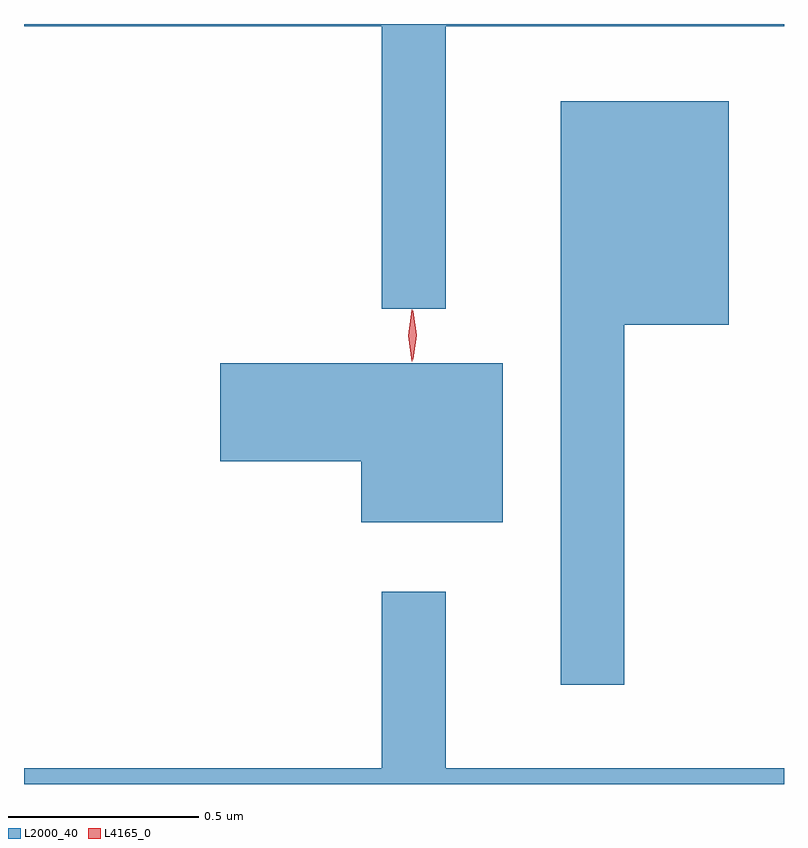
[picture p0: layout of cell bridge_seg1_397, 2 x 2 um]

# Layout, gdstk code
import gdstk
lib = gdstk.Library(unit=1e-6, precision=1e-09)
def P(c, l, *ps):  # polygons
    for p in ps: c.add(gdstk.Polygon(p, *l))
L2000_40 = (2000, 40)
L4165_0 = (4165, 0)

bridge_seg1_397 = lib.new_cell('bridge_seg1_397')
P(bridge_seg1_397, L2000_40, [(552.589,937.316),(553.479,937.316),(553.479,937.322),(551.479,937.322),(551.479,937.316),(552.421,937.316),(552.421,936.573),(552.589,936.573)],
  [(553.059,936.531),(553.334,936.531),(553.334,937.119),(552.891,937.119),(552.891,935.583),(553.059,935.583)],
  [(552.739,936.429),(551.996,936.429),(551.996,936.171),(552.366,936.171),(552.366,936.011),(552.739,936.011)],
  [(553.479,935.364),(552.589,935.364),(552.589,935.828),(552.421,935.828),(552.421,935.364),(551.479,935.364),(551.479,935.322),(553.479,935.322)])
P(bridge_seg1_397, L4165_0, [(552.5,936.434),(552.5,936.434),(552.49,936.502),(552.5,936.57),(552.5,936.57),(552.501,936.57),(552.51,936.502),(552.501,936.434)],
  [(552.502,936.44),(552.493,936.503),(552.502,936.566),(552.503,936.567),(552.503,936.566),(552.513,936.503),(552.503,936.44),(552.503,936.44)])

lib.write_gds('bridge_seg1_397.gds')
